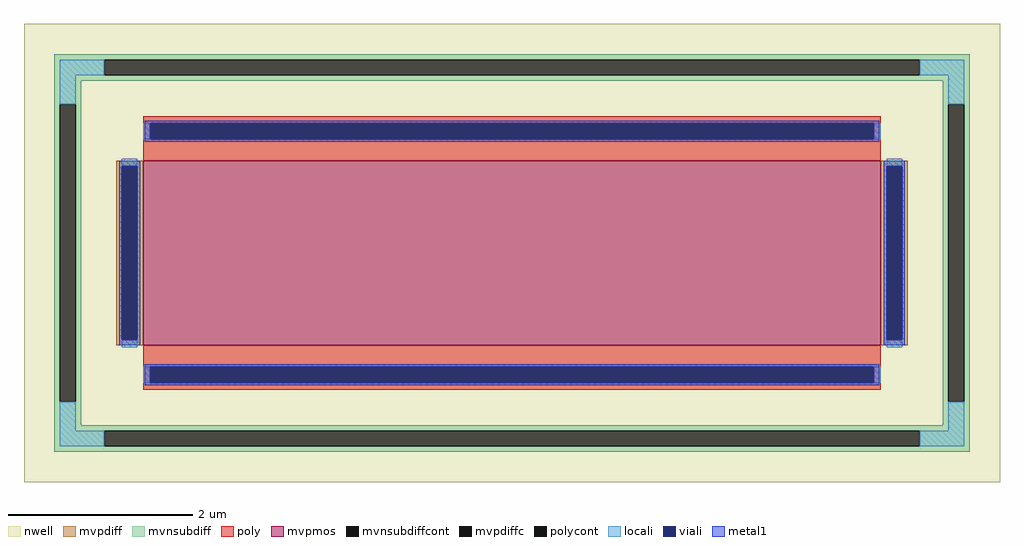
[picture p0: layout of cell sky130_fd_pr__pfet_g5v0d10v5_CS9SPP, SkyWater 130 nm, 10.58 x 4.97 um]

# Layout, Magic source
magic
tech sky130A
magscale 1 2
<< nwell >>
rect -1058 -497 1058 497
<< mvpmos >>
rect -800 -200 800 200
<< mvpdiff >>
rect -858 188 -800 200
rect -858 -188 -846 188
rect -812 -188 -800 188
rect -858 -200 -800 -188
rect 800 188 858 200
rect 800 -188 812 188
rect 846 -188 858 188
rect 800 -200 858 -188
<< mvpdiffc >>
rect -846 -188 -812 188
rect 812 -188 846 188
<< mvnsubdiff >>
rect -992 419 992 431
rect -992 385 -884 419
rect 884 385 992 419
rect -992 373 992 385
rect -992 323 -934 373
rect -992 -323 -980 323
rect -946 -323 -934 323
rect 934 323 992 373
rect -992 -373 -934 -323
rect 934 -323 946 323
rect 980 -323 992 323
rect 934 -373 992 -323
rect -992 -385 992 -373
rect -992 -419 -884 -385
rect 884 -419 992 -385
rect -992 -431 992 -419
<< mvnsubdiffcont >>
rect -884 385 884 419
rect -980 -323 -946 323
rect 946 -323 980 323
rect -884 -419 884 -385
<< poly >>
rect -800 281 800 297
rect -800 247 -784 281
rect 784 247 800 281
rect -800 200 800 247
rect -800 -247 800 -200
rect -800 -281 -784 -247
rect 784 -281 800 -247
rect -800 -297 800 -281
<< polycont >>
rect -784 247 784 281
rect -784 -281 784 -247
<< locali >>
rect -980 385 -884 419
rect 884 385 980 419
rect -980 323 -946 385
rect 946 323 980 385
rect -800 247 -784 281
rect 784 247 800 281
rect -846 188 -812 204
rect -846 -204 -812 -188
rect 812 188 846 204
rect 812 -204 846 -188
rect -800 -281 -784 -247
rect 784 -281 800 -247
rect -980 -385 -946 -323
rect 946 -385 980 -323
rect -980 -419 -884 -385
rect 884 -419 980 -385
<< viali >>
rect -784 247 784 281
rect -846 -188 -812 188
rect 812 -188 846 188
rect -784 -281 784 -247
<< metal1 >>
rect -796 281 796 287
rect -796 247 -784 281
rect 784 247 796 281
rect -796 241 796 247
rect -852 188 -806 200
rect -852 -188 -846 188
rect -812 -188 -806 188
rect -852 -200 -806 -188
rect 806 188 852 200
rect 806 -188 812 188
rect 846 -188 852 188
rect 806 -200 852 -188
rect -796 -247 796 -241
rect -796 -281 -784 -247
rect 784 -281 796 -247
rect -796 -287 796 -281
<< properties >>
string FIXED_BBOX -963 -402 963 402
string gencell sky130_fd_pr__pfet_g5v0d10v5
string library sky130
string parameters w 2 l 8 m 1 nf 1 diffcov 100 polycov 100 guard 1 glc 1 grc 1 gtc 1 gbc 1 tbcov 100 rlcov 100 topc 1 botc 1 poverlap 0 doverlap 1 lmin 0.50 wmin 0.42 compatible {sky130_fd_pr__pfet_01v8  sky130_fd_pr__pfet_01v8_lvt sky130_fd_pr__pfet_01v8_hvt  sky130_fd_pr__pfet_g5v0d10v5} full_metal 1 viasrc 100 viadrn 100 viagate 100 viagb 0 viagr 0 viagl 0 viagt 0
<< end >>
